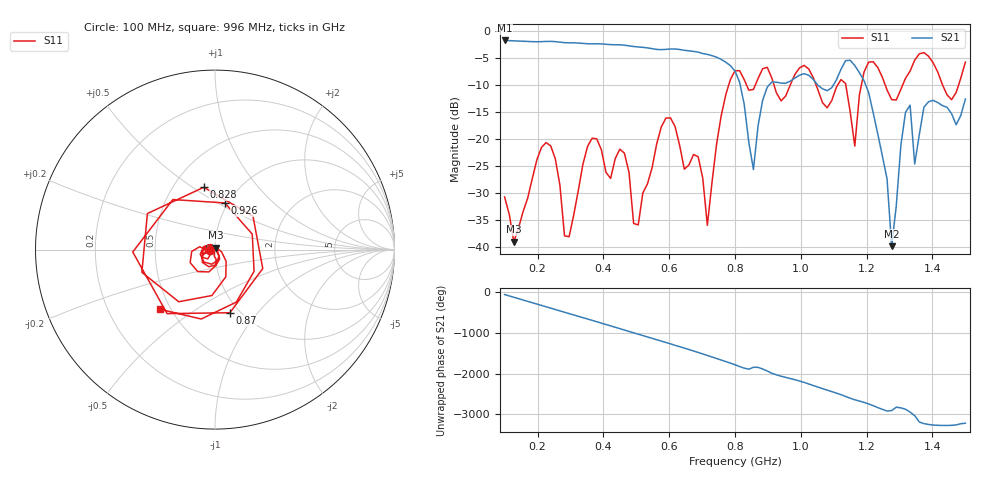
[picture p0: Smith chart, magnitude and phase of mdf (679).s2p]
! NanoVNA-App
! Date: 2025-09-25 15:43:42
! Start: 100MHz Stop: 1,5GHz Points: 101
! S-Parameter data: F S11 S21 S12 S22
# Hz S RI R 50
!  Frequency  S11_Real  S11_Imag  S21_Real  S21_Imag  S12_Real  S12_Imag  S22_Real  S22_Imag
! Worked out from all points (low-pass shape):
!   101 points, 100 MHz to 1.5 GHz, reference 50 ohm
!   highest |S21| = -1.80 dB at 100 MHz (marker M1); lowest = -39.8 dB at 1.276 GHz (marker M2)
!   |S21| within 3 dB of the highest: start of sweep to 739.5 MHz
!   lowest |S11| = -39.0 dB at 128 MHz (marker M3), VSWR 1.02, Z = 50.3 + j1.08 ohm
!   |S11| at or under -10 dB: start of sweep to 781.1 MHz; 918.3 MHz to 968.1 MHz (49.82 MHz wide, 5.28 % of centre); 1.046 GHz to 1.113 GHz (66.45 MHz wide, 6.16 % of centre) (the widest 3 of 7)
!   S12 and S22 are empty: the file has one direction only
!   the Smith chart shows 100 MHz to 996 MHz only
!   S11 on the Smith chart (normalised r, x): 100 MHz: 0.94, -0.01; 828 MHz: 0.70, +0.56; 870 MHz: 0.90, -0.73; 926 MHz: 0.97, +0.54; 996 MHz: 0.44, -0.36
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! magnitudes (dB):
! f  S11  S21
! 100 MHz  -30.7  -1.8
! 128 MHz  -39.0  -1.9
! 212 MHz  -21.6  -2.0
! 282 MHz  -37.9  -2.2
! 338 MHz  -24.7  -2.3
! 464 MHz  -22.6  -2.7
! 506 MHz  -35.9  -3.0
! 576 MHz  -17.8  -3.5
! 716 MHz  -36.0  -4.4
! 800 MHz  -7.4  -7.5
! 828 MHz  -9.1  -13.6
! 856 MHz  -10.9  -25.7
! 870 MHz  -8.8  -17.6
! 926 MHz  -11.5  -9.5
! 996 MHz  -6.9  -8.2
! 1.038 GHz  -8.7  -9.0
! 1.164 GHz  -21.3  -6.4
! 1.192 GHz  -7.6  -9.2
! 1.276 GHz  -12.7  -39.8
! 1.318 GHz  -8.8  -15.1
! 1.346 GHz  -5.4  -24.6
! 1.5 GHz  -5.8  -12.6
